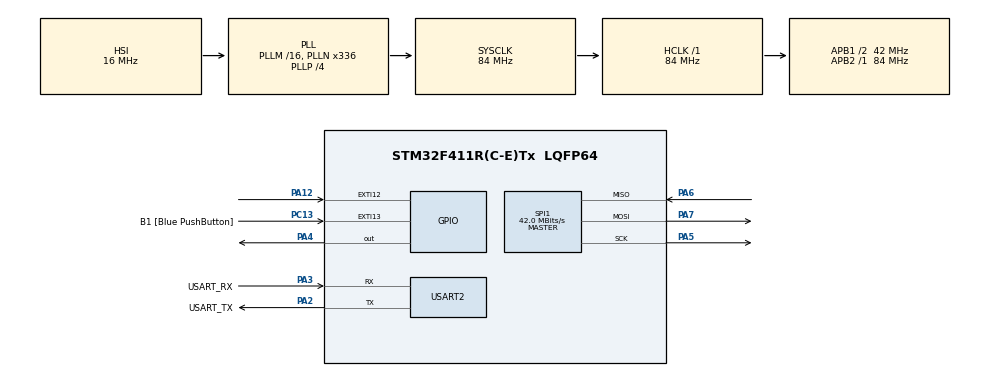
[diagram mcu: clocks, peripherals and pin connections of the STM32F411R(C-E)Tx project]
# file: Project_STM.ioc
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Mcu.Family=STM32F4
Mcu.Name=STM32F411R(C-E)Tx
Mcu.Package=LQFP64
NVIC.PriorityGroup=NVIC_PRIORITYGROUP_0
PA12.Signal=GPXTI12
PA13.GPIO_Label=TMS
PA13.Mode=Serial_Wire
PA13.Signal=SYS_JTMS-SWDIO
PA14.GPIO_Label=TCK
PA14.Mode=Serial_Wire
PA14.Signal=SYS_JTCK-SWCLK
PA2.GPIO_Label=USART_TX
PA2.Mode=Asynchronous
PA2.Signal=USART2_TX
PA3.GPIO_Label=USART_RX
PA3.Mode=Asynchronous
PA3.Signal=USART2_RX
PA4.Signal=GPIO_Output
PA5.Mode=Full_Duplex_Master
PA5.Signal=SPI1_SCK
PA6.Mode=Full_Duplex_Master
PA6.Signal=SPI1_MISO
PA7.Mode=Full_Duplex_Master
PA7.Signal=SPI1_MOSI
PB3.GPIO_Label=SWO
PB3.Signal=SYS_JTDO-SWO
PC13-ANTI_TAMP.GPIO_Label=B1 [Blue PushButton]
PC13-ANTI_TAMP.GPIO_ModeDefaultEXTI=GPIO_MODE_IT_FALLING
PC13-ANTI_TAMP.Signal=GPXTI13
PC14-OSC32_IN.Mode=LSE-External-Oscillator
PC14-OSC32_IN.Signal=RCC_OSC32_IN
PC15-OSC32_OUT.Mode=LSE-External-Oscillator
PC15-OSC32_OUT.Signal=RCC_OSC32_OUT
PH0\ -\ OSC_IN.Mode=HSE-External-Clock-Source
PH0\ -\ OSC_IN.Signal=RCC_OSC_IN
PH1\ -\ OSC_OUT.Mode=HSE-External-Clock-Source
PH1\ -\ OSC_OUT.Signal=RCC_OSC_OUT
ProjectManager.HeapSize=0x200
ProjectManager.StackSize=0x400
ProjectManager.TargetToolchain=STM32CubeIDE
RCC.48MHZClocksFreq_Value=84000000
RCC.AHBFreq_Value=84000000
RCC.APB1CLKDivider=RCC_HCLK_DIV2
RCC.APB1Freq_Value=42000000
RCC.APB1TimFreq_Value=84000000
RCC.APB2Freq_Value=84000000
RCC.APB2TimFreq_Value=84000000
RCC.CortexFreq_Value=84000000
RCC.FLatency-AdvancedSettings=FLASH_LATENCY_2
RCC.HCLKFreq_Value=84000000
RCC.HSE_VALUE=8000000
RCC.HSI_VALUE=16000000
RCC.PLLN=336
RCC.PLLP=RCC_PLLP_DIV4
RCC.SYSCLKFreq_VALUE=84000000
RCC.SYSCLKSource=RCC_SYSCLKSOURCE_PLLCLK
RCC.VCOOutputFreq_Value=336000000
SPI1.BaudRatePrescaler=SPI_BAUDRATEPRESCALER_2
SPI1.CalculateBaudRate=42.0 MBits/s
SPI1.Direction=SPI_DIRECTION_2LINES
SPI1.Mode=SPI_MODE_MASTER
SPI1.VirtualType=VM_MASTER
USART2.VirtualMode=VM_ASYNC
board=NUCLEO-F411RE

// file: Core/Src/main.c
/* USER CODE BEGIN Header */
/**
  ******************************************************************************
  * @file           : main.c
  * @brief          : Main program body
  ******************************************************************************
  * @attention
  *
  * Copyright (c) 2025 STMicroelectronics.
  * All rights reserved.
  *
  * This software is licensed under terms that can be found in the LICENSE file
  * in the root directory of this software component.
  * If no LICENSE file comes with this software, it is provided AS-IS.
  *
  ******************************************************************************
  */
/* USER CODE END Header */
#include "main.h"

/* USER CODE BEGIN Includes */
#include <stdio.h>
#include <string.h>
/* USER CODE END Includes */

/* USER CODE BEGIN PTD */
SPI_HandleTypeDef hspi1;
#define MCP2515_CS_PORT GPIOA
#define MCP2515_CS_PIN  GPIO_PIN_4
#define MCP2515_CS_LOW() HAL_GPIO_WritePin(MCP2515_CS_PORT, MCP2515_CS_PIN, GPIO_PIN_RESET)
#define MCP2515_CS_HIGH() HAL_GPIO_WritePin(MCP2515_CS_PORT, MCP2515_CS_PIN, GPIO_PIN_SET)
/* USER CODE END PTD */

SPI_HandleTypeDef hspi1;

UART_HandleTypeDef huart2;

void SystemClock_Config(void);
static void MX_GPIO_Init(void);
static void MX_USART2_UART_Init(void);
static void MX_SPI1_Init(void);

int main(void)
{

  /* MCU Configuration--------------------------------------------------------*/

  /* Reset of all peripherals, Initializes the Flash interface and the Systick. */
  HAL_Init();

  /* Configure the system clock */
  SystemClock_Config();

  /* Initialize all configured peripherals */
  MX_GPIO_Init();
  MX_USART2_UART_Init();
  MX_SPI1_Init();
  /* USER CODE BEGIN 2 */
  mcp2515_init();
  char start[] = "start\r\n";
  HAL_UART_Transmit(&huart2, (uint8_t*)start, strlen(start), 100);
  /* USER CODE END 2 */

  /* Infinite loop */
  while (1)
  {

    /* USER CODE BEGIN 3 */
	  mcp2515_send_message();
	  HAL_Delay(2000); // 2초 간격으로 메세지 전송
  }
  /* USER CODE END 3 */
}

void SystemClock_Config(void)
{
  RCC_OscInitTypeDef RCC_OscInitStruct = {0};
  RCC_ClkInitTypeDef RCC_ClkInitStruct = {0};

  /** Configure the main internal regulator output voltage
  */
  __HAL_RCC_PWR_CLK_ENABLE();
  __HAL_PWR_VOLTAGESCALING_CONFIG(PWR_REGULATOR_VOLTAGE_SCALE1);

  /** Initializes the RCC Oscillators according to the specified parameters
  * in the RCC_OscInitTypeDef structure.
  */
  RCC_OscInitStruct.OscillatorType = RCC_OSCILLATORTYPE_HSI;
  RCC_OscInitStruct.HSIState = RCC_HSI_ON;
  RCC_OscInitStruct.HSICalibrationValue = RCC_HSICALIBRATION_DEFAULT;
  RCC_OscInitStruct.PLL.PLLState = RCC_PLL_ON;
  RCC_OscInitStruct.PLL.PLLSource = RCC_PLLSOURCE_HSI;
  RCC_OscInitStruct.PLL.PLLM = 16;
  RCC_OscInitStruct.PLL.PLLN = 336;
  RCC_OscInitStruct.PLL.PLLP = RCC_PLLP_DIV4;
  RCC_OscInitStruct.PLL.PLLQ = 4;
  if (HAL_RCC_OscConfig(&RCC_OscInitStruct) != HAL_OK)
  {
    Error_Handler();
  }

  /** Initializes the CPU, AHB and APB buses clocks
  */
  RCC_ClkInitStruct.ClockType = RCC_CLOCKTYPE_HCLK|RCC_CLOCKTYPE_SYSCLK
                              |RCC_CLOCKTYPE_PCLK1|RCC_CLOCKTYPE_PCLK2;
  RCC_ClkInitStruct.SYSCLKSource = RCC_SYSCLKSOURCE_PLLCLK;
  RCC_ClkInitStruct.AHBCLKDivider = RCC_SYSCLK_DIV1;
  RCC_ClkInitStruct.APB1CLKDivider = RCC_HCLK_DIV2;
  RCC_ClkInitStruct.APB2CLKDivider = RCC_HCLK_DIV1;

  if (HAL_RCC_ClockConfig(&RCC_ClkInitStruct, FLASH_LATENCY_2) != HAL_OK)
  {
    Error_Handler();
  }
}

static void MX_SPI1_Init(void)
{

  /* SPI1 parameter configuration*/
  hspi1.Instance = SPI1;
  hspi1.Init.Mode = SPI_MODE_MASTER;
  hspi1.Init.Direction = SPI_DIRECTION_2LINES;
  hspi1.Init.DataSize = SPI_DATASIZE_8BIT;
  hspi1.Init.CLKPolarity = SPI_POLARITY_LOW;
  hspi1.Init.CLKPhase = SPI_PHASE_1EDGE;
  hspi1.Init.NSS = SPI_NSS_SOFT;
  hspi1.Init.BaudRatePrescaler = SPI_BAUDRATEPRESCALER_2;
  hspi1.Init.FirstBit = SPI_FIRSTBIT_MSB;
  hspi1.Init.TIMode = SPI_TIMODE_DISABLE;
  hspi1.Init.CRCCalculation = SPI_CRCCALCULATION_DISABLE;
  hspi1.Init.CRCPolynomial = 10;
  if (HAL_SPI_Init(&hspi1) != HAL_OK)
  {
    Error_Handler();
  }

}

static void MX_USART2_UART_Init(void)
{

  huart2.Instance = USART2;
  huart2.Init.BaudRate = 115200;
  huart2.Init.WordLength = UART_WORDLENGTH_8B;
  huart2.Init.StopBits = UART_STOPBITS_1;
  huart2.Init.Parity = UART_PARITY_NONE;
  huart2.Init.Mode = UART_MODE_TX_RX;
  huart2.Init.HwFlowCtl = UART_HWCONTROL_NONE;
  huart2.Init.OverSampling = UART_OVERSAMPLING_16;
  if (HAL_UART_Init(&huart2) != HAL_OK)
  {
    Error_Handler();
  }

}

static void MX_GPIO_Init(void)
{
  GPIO_InitTypeDef GPIO_InitStruct = {0};

  /* GPIO Ports Clock Enable */
  __HAL_RCC_GPIOC_CLK_ENABLE();
  __HAL_RCC_GPIOH_CLK_ENABLE();
  __HAL_RCC_GPIOA_CLK_ENABLE();
  __HAL_RCC_GPIOB_CLK_ENABLE();

  /*Configure GPIO pin Output Level */
  HAL_GPIO_WritePin(GPIOA, GPIO_PIN_4, GPIO_PIN_RESET);

  /*Configure GPIO pin : B1_Pin */
  GPIO_InitStruct.Pin = B1_Pin;
  GPIO_InitStruct.Mode = GPIO_MODE_IT_FALLING;
  GPIO_InitStruct.Pull = GPIO_NOPULL;
  HAL_GPIO_Init(B1_GPIO_Port, &GPIO_InitStruct);

  /*Configure GPIO pin : PA4 */
  GPIO_InitStruct.Pin = GPIO_PIN_4;
  GPIO_InitStruct.Mode = GPIO_MODE_OUTPUT_PP;
  GPIO_InitStruct.Pull = GPIO_NOPULL;
  GPIO_InitStruct.Speed = GPIO_SPEED_FREQ_LOW;
  HAL_GPIO_Init(GPIOA, &GPIO_InitStruct);

  /*Configure GPIO pin : PA12 */
  GPIO_InitStruct.Pin = GPIO_PIN_12;
  GPIO_InitStruct.Mode = GPIO_MODE_IT_RISING;
  GPIO_InitStruct.Pull = GPIO_NOPULL;
  HAL_GPIO_Init(GPIOA, &GPIO_InitStruct);

}

/* USER CODE BEGIN 4 */

//SPI 송수신 함수
uint8_t SPI_WriteRead(uint8_t data)
{
	uint8_t received = 0;
	if(HAL_SPI_TransmitReceive(&hspi1, &data, &received, 1, HAL_MAX_DELAY) != HAL_OK)
	{
		char msg[] = "SPPI ERROR\r\n";
		HAL_UART_Transmit(&huart2, (uint8_t*)msg, strlen(msg), 100);
	}
	return received;
}

//MCP2515 레지스터 쓰기/읽기 함수(CAN 모듈)
void mcp2515_write_register(uint8_t address, uint8_t data)
{
	MCP2515_CS_LOW(); //SPI 슬레이브 시작
	SPI_WriteRead(0x02); //Write 명령
	SPI_WriteRead(address); // 쓰고 싶은 MCP2515 내부 주소
	SPI_WriteRead(data); //그 주소에 쓸 데이터
	MCP2515_CS_HIGH(); //SPI 종료
}

uint8_t mcp2515_read_register(uint8_t address)
{
	uint8_t value;
	MCP2515_CS_LOW();
	SPI_WriteRead(0x03); //Read command
	SPI_WriteRead(address);
	value = SPI_WriteRead(0x00);
	MCP2515_CS_HIGH();
	return value;
}

/************CP2515 초기화 함수****************/
void mcp2515_reset()
{
	MCP2515_CS_LOW();
	SPI_WriteRead(0xC0); //Reset command
	MCP2515_CS_HIGH();
	HAL_Delay(10); //리셋 후 안정을 위해 대기
}

void mcp2515_init()
{
	mcp2515_reset();

	//CNF1, CNF2, CNF3 설정 500kbps 기준 (8Mhz 기준)
	mcp2515_write_register(0x2A, 0x00);  // CNF1: SJW = 1, BRP = 0
	mcp2515_write_register(0x29, 0x90);  // CNF2: BTLMODE=1, PHSEG1=2, PRSEG=1
	mcp2515_write_register(0x28, 0x02);  // CNF3: PHSEG2=3

	// Normal Mode 진입
	mcp2515_write_register(0x0F, 0x00); // CANCTRL register -> Normal mode
	HAL_Delay(10);
	uint8_t mode = mcp2515_read_register(0x0E) & 0xE0; // CANSTAT 상위 3비트로 현재 모드 확인
	if (mode != 0x00)
	{
		char err[] = "MCP2515 NOT in Normal Mode\r\n";
		HAL_UART_Transmit(&huart2, (uint8_t*)err, strlen(err), 100);
	}

	uint8_t canstat = mcp2515_read_register(0x0E); // CANSTAT 전체 읽기
	char buf[64];
	sprintf(buf, "CANSTAT=0x%02X\r\n", canstat);
	HAL_UART_Transmit(&huart2, (uint8_t*)buf, strlen(buf), 100);
}
/******************************************/

/***************CAN 송신 함수***************/
void mcp2515_send_message()
{
	// ID: 0x123
	uint16_t id = 0x123;
	uint8_t sidh = (id >> 3) & 0xFF; // 상위 8비트
	uint8_t sidl = (id << 5) & 0xE0; // 하위 3비트를 상위로 이동

	mcp2515_write_register(0x31, sidh); // TXBOSIDL
	mcp2515_write_register(0x32, sidl); // TXBOSIDH

	// DLC(data length code): 4바이트
	mcp2515_write_register(0x35, 0x04); // TXBODLC

	// Data payload: 0xDE, 0xAD, 0xBE, 0xEF
	mcp2515_write_register(0x36, 0xDE);
	mcp2515_write_register(0x37, 0xAD);
	mcp2515_write_register(0x38, 0xBE);
	mcp2515_write_register(0x39, 0xEF);

	// 전송 요청 전 CANINTF의 TX0IF 플래그 클리어
	mcp2515_write_register(0x2C, 0x00);

	// 요청 전송
	MCP2515_CS_LOW();
	SPI_WriteRead(0x81); // RTS TXB0
	MCP2515_CS_HIGH();

	// 전송 성공 확인
	HAL_Delay(1); // 아주 짧은 시간 대기(TX처리 시간)
	uint8_t canintf = mcp2515_read_register(0x2C);
	if(canintf & (0x04 | 0x02 | 0x01)) // TX0IF bit
	{
		char msg[] = "CAN TX Done\r\n";
		HAL_UART_Transmit(&huart2, (uint8_t*)msg, strlen(msg), 100);
	}
	else
	{
		char err[] = "TX Failed\r\n";
		HAL_UART_Transmit(&huart2, (uint8_t*)err, strlen(err), 100);
	}
}
/******************************************/
/* USER CODE END 4 */

void Error_Handler(void)
{
  __disable_irq();
  while (1)
  {
  }
}
